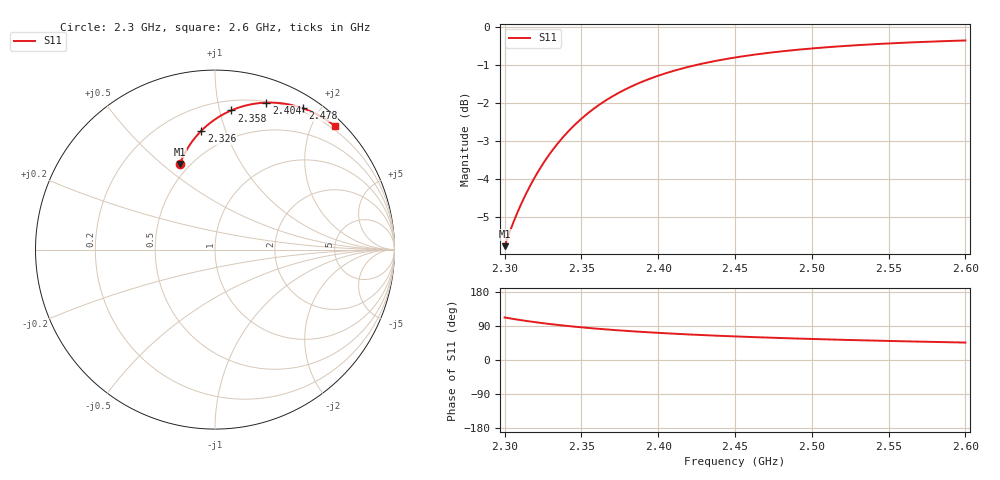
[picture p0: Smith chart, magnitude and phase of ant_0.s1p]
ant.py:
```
def ant1(linew,slot1_x,slot1_y,slot2_x,slot2_y,icount=[0]):
    """
    to run an antenna config
    command printed to terminal should look like this in order for things to work properly:
    
    ./run.sh linew 1.0 slot1_x 0.01 slot1_y 0.01 slot2_x 0.01 slot2_y 0.01 outfile '"'ant_0.s1p'"'
    """
    cnt = icount[0]
    print('Evaluation ', cnt)
    sfile_name = "'\"'ant_"+str(cnt)+".s1p'\"'"
    #limit decimals for ansys to work
    linew,slot1_x,slot1_y,slot2_x,slot2_y = np.around([linew,slot1_x,slot1_y,slot2_x,slot2_y],decimals=3)
    input_values = "linew="+str(linew)+" slot1_x="+str(slot1_x)+" slot1_y="+str(slot1_y)+" slot2_x=" +str(slot2_x)+" slot2_y="+str(slot2_y)
    print(input_values)
 
    code_dir = os.environ.get('CAD_DIR')
    if (code_dir is None):
        raise Exception("Working directory needs to be set to CAD_DIR")
    global ssh
    command = "cd "+code_dir
    command += " && ./run.sh linew "+str(linew)+" slot1_x "+str(slot1_x)+" slot1_y "+str(slot1_y)+" slot2_x " +str(slot2_x)+" slot2_y "+str(slot2_y)+" outfile "+sfile_name
    print(command)
    try_command = "ls *.s1p"#try to see if there is any s1p file
    
    exit_status = utils.ssh_exec(ssh, command, try_command)
    
	#try to remove any .lock file
    stdin, stdout, stderr = ssh.exec_command("cd "+code_dir+ " && rm *.aedt.lock")
    icount[0] +=1
    
    return exit_status
```
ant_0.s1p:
! Touchstone file exported from HFSS 2022.2.0
!  File:  /home/fengz3/Antenna/yi_ant1.aedt
!  Generated:  5:05:41 PM  Dec 19, 2022
!  Design:  ant
!  Project:  yi_ant1
!  Setup:  Setup1
!  Solution:  Sweep
! Variables:
!  boxx = 80mm
!  boxy = 80mm
!  boxz = 60mm
!  gndslot_x = 8mm
!  gndslot_y = 16mm
!  gndx = 50mm
!  linew = 1mm
!  linex = 25mm
!  patchx = 30.63mm
!  patchy = 32.45mm
!  porth = 6mm
!  portw = 12mm
!  slot1_x = 0.01mm
!  slot1_y = 0.01mm
!  slot2_x = 0.01mm
!  slot2_y = 0.01mm
!  sub1_x = 8mm
!  sub1_y = 18mm
!  subx = 50mm
!  suby = 52mm
!  subz = 1.6mm
# GHz S MA R 50.000000
! Terminal data exported
! Port[1] = 1
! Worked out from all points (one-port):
!   151 points, 2.3 GHz to 2.6 GHz, reference 50 ohm
!   lowest |S11| = -5.8 dB at 2.3 GHz (marker M1), VSWR 3.13, Z = 22.2 + j28.8 ohm
!   |S11| at or under -10 dB: nowhere
!   S11 on the Smith chart (normalised r, x): 2.3 GHz: 0.44, +0.58; 2.326 GHz: 0.35, +0.83; 2.358 GHz: 0.27, +1.09; 2.404 GHz: 0.21, +1.39; 2.478 GHz: 0.16, +1.79; 2.6 GHz: 0.14, +2.35
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2.3  0.5158 112.2
! Gamma 0.726647195826984 83.5312173196599
! Port Impedance 50 0
2.312  0.5928 104.3
2.326  0.666 96.6
2.334  0.7007 92.8
2.342  0.7311 89.4
2.358  0.7806 83.4
2.378  0.8264 77.2
2.4  0.8623 71.6
2.404  0.8677 70.7
2.438  0.9022 64.2
2.478  0.927 58.2
2.5  0.9363 55.5
2.546  0.9496 50.6
2.6  0.9591 46.0
